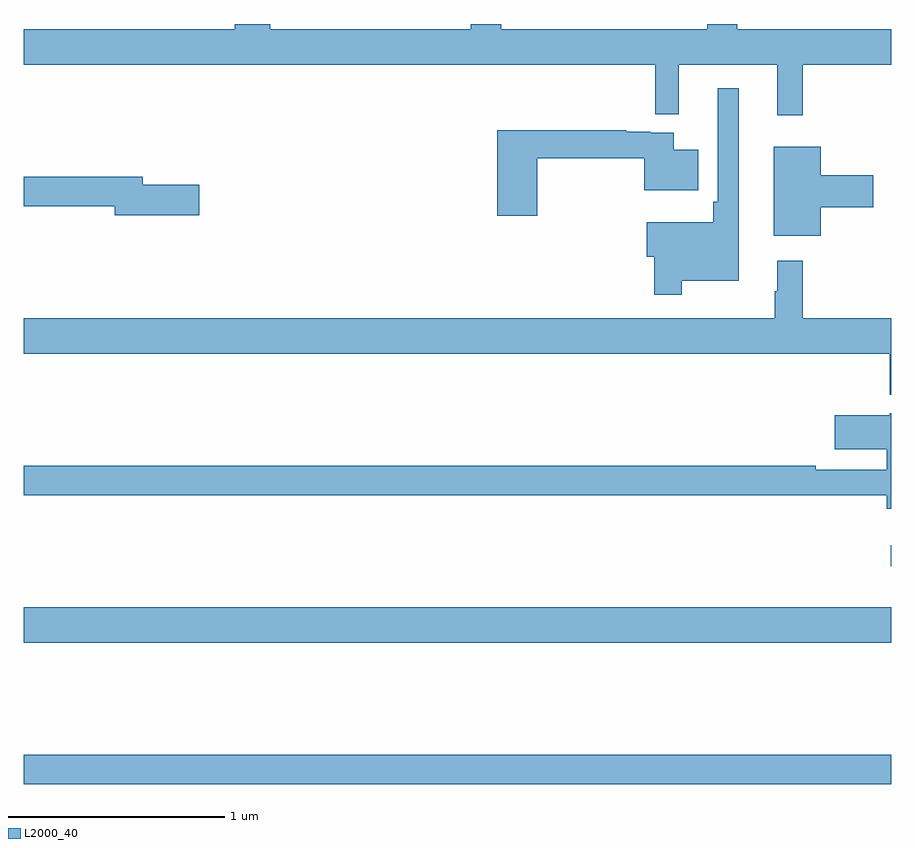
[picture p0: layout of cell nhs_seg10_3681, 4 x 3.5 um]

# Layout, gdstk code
import gdstk
lib = gdstk.Library(unit=1e-6, precision=1e-09)
def R(c, l, rs):  # rectangles x0, y0, x1, y1
    for r in rs: c.add(gdstk.rectangle(r[:2], r[2:], *l))
def P(c, l, *ps):  # polygons
    for p in ps: c.add(gdstk.Polygon(p, *l))
L2000_40 = (2000, 40)

nhs_seg10_3681 = lib.new_cell('nhs_seg10_3681')
R(nhs_seg10_3681, L2000_40, [(311,1300.996,315,1301.132), (311,1301.648,315,1301.812), (314.997,1302,315,1302.096)])
P(nhs_seg10_3681, L2000_40, [(314.591,1304.312),(315,1304.312),(315,1304.476),(314.29,1304.476),(314.29,1304.5),(314.151,1304.5),(314.151,1304.476),(313.201,1304.476),(313.201,1304.5),(313.061,1304.5),(313.061,1304.476),(312.136,1304.476),(312.136,1304.5),(311.972,1304.5),(311.972,1304.476),(311,1304.476),(311,1304.312),(313.912,1304.312),(313.912,1304.083),(314.021,1304.083),(314.021,1304.312),(314.474,1304.312),(314.474,1304.079),(314.591,1304.079)],
  [(314.035,1303.316),(314.296,1303.316),(314.296,1304.203),(314.199,1304.203),(314.199,1303.681),(314.179,1303.681),(314.179,1303.585),(313.872,1303.585),(313.872,1303.427),(313.906,1303.427),(313.906,1303.251),(314.035,1303.251)],
  [(313.367,1303.882),(313.862,1303.882),(313.862,1303.733),(314.11,1303.733),(314.11,1303.921),(313.996,1303.921),(313.996,1303.998),(313.892,1303.998),(313.892,1304.004),(313.778,1304.004),(313.778,1304.011),(313.184,1304.011),(313.184,1303.617),(313.367,1303.617)],
  [(314.674,1303.655),(314.917,1303.655),(314.917,1303.802),(314.674,1303.802),(314.674,1303.933),(314.459,1303.933),(314.459,1303.523),(314.674,1303.523)],
  [(311.809,1303.76),(311.548,1303.76),(311.548,1303.796),(311,1303.796),(311,1303.66),(311.42,1303.66),(311.42,1303.618),(311.809,1303.618)],
  [(315,1303.144),(314.591,1303.144),(314.591,1303.408),(314.474,1303.408),(314.474,1303.268),(314.463,1303.268),(314.463,1303.144),(311,1303.144),(311,1302.98),(314.993,1302.98),(314.993,1302.791),(315,1302.791)],
  [(315,1302.706),(314.994,1302.706),(314.994,1302.697),(314.739,1302.697),(314.739,1302.539),(314.978,1302.539),(314.978,1302.444),(314.651,1302.444),(314.651,1302.464),(311,1302.464),(311,1302.328),(314.978,1302.328),(314.978,1302.264),(315,1302.264)])

lib.write_gds('nhs_seg10_3681.gds')
